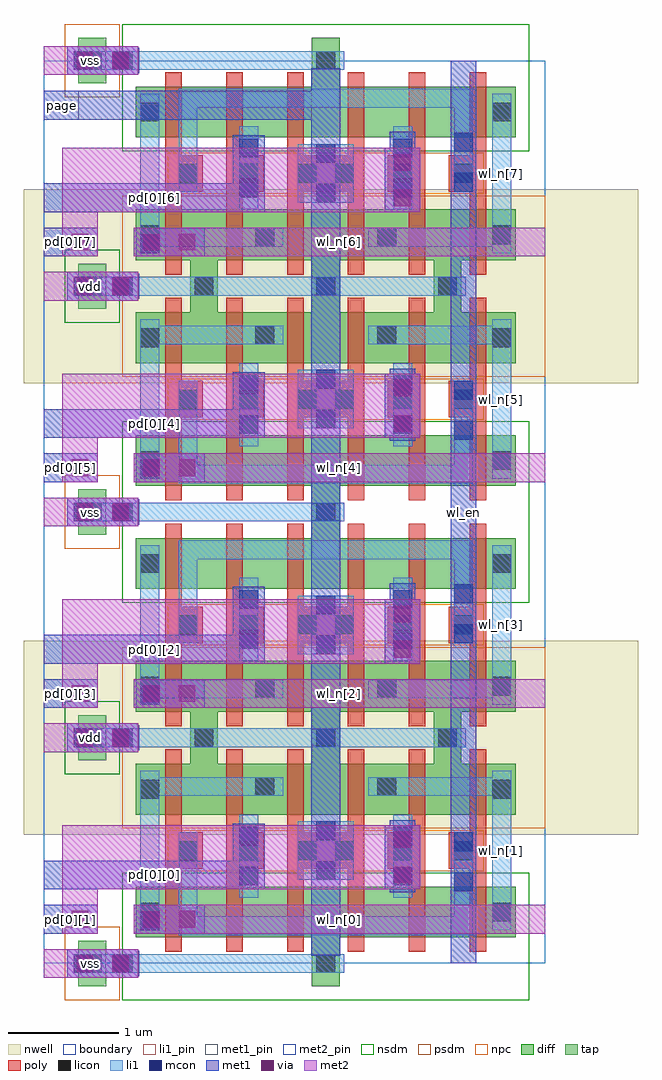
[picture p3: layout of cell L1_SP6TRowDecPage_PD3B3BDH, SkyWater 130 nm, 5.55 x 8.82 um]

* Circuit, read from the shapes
.subckt L1_SP6TRowDecPage_PD3B3BDH page pd[0][0] pd[0][1] pd[0][2] pd[0][3] pd[0][4] pd[0][5] pd[0][6] pd[0][7] vdd vss wl_en wl_n[0] wl_n[1] wl_n[2] wl_n[3] wl_n[4] wl_n[5] wl_n[6] wl_n[7]
XM1 n1 wl_en wl_n[0] vss sky130_fd_pr__nfet_01v8 w=0.46 l=0.15
XM2 n2 wl_en wl_n[2] vss sky130_fd_pr__nfet_01v8 w=0.46 l=0.15
XM3 n3 wl_en wl_n[4] vss sky130_fd_pr__nfet_01v8 w=0.46 l=0.15
XM4 n4 wl_en wl_n[6] vss sky130_fd_pr__nfet_01v8 w=0.46 l=0.15
XM5 n5 pd[0][0] n1 vss sky130_fd_pr__nfet_01v8 w=0.46 l=0.15
XM6 n6 pd[0][2] n2 vss sky130_fd_pr__nfet_01v8 w=0.46 l=0.15
XM7 n7 pd[0][4] n3 vss sky130_fd_pr__nfet_01v8 w=0.46 l=0.15
XM8 n8 pd[0][6] n4 vss sky130_fd_pr__nfet_01v8 w=0.46 l=0.15
XM9 vss page n5 vss sky130_fd_pr__nfet_01v8 w=0.46 l=0.15
XM10 vss page n6 vss sky130_fd_pr__nfet_01v8 w=0.46 l=0.15
XM11 vss page n7 vss sky130_fd_pr__nfet_01v8 w=0.46 l=0.15
XM12 vss page n8 vss sky130_fd_pr__nfet_01v8 w=0.46 l=0.15
XM13 n9 page vss vss sky130_fd_pr__nfet_01v8 w=0.46 l=0.15
XM14 n10 page vss vss sky130_fd_pr__nfet_01v8 w=0.46 l=0.15
XM15 n11 page vss vss sky130_fd_pr__nfet_01v8 w=0.46 l=0.15
XM16 n12 page vss vss sky130_fd_pr__nfet_01v8 w=0.46 l=0.15
XM17 n13 pd[0][1] n9 vss sky130_fd_pr__nfet_01v8 w=0.46 l=0.15
XM18 n14 pd[0][3] n10 vss sky130_fd_pr__nfet_01v8 w=0.46 l=0.15
XM19 n15 pd[0][5] n11 vss sky130_fd_pr__nfet_01v8 w=0.46 l=0.15
XM20 n16 pd[0][7] n12 vss sky130_fd_pr__nfet_01v8 w=0.46 l=0.15
XM21 wl_n[1] wl_en n13 vss sky130_fd_pr__nfet_01v8 w=0.46 l=0.15
XM22 wl_n[3] wl_en n14 vss sky130_fd_pr__nfet_01v8 w=0.46 l=0.15
XM23 wl_n[5] wl_en n15 vss sky130_fd_pr__nfet_01v8 w=0.46 l=0.15
XM24 wl_n[7] wl_en n16 vss sky130_fd_pr__nfet_01v8 w=0.46 l=0.15
XM25 vdd wl_en wl_n[0] vdd sky130_fd_pr__pfet_01v8 w=0.46 l=0.15
XM26 vdd wl_en wl_n[2] vdd sky130_fd_pr__pfet_01v8 w=0.46 l=0.15
XM27 vdd wl_en wl_n[4] vdd sky130_fd_pr__pfet_01v8 w=0.46 l=0.15
XM28 vdd wl_en wl_n[6] vdd sky130_fd_pr__pfet_01v8 w=0.46 l=0.15
XM29 wl_n[0] pd[0][0] vdd vdd sky130_fd_pr__pfet_01v8 w=0.46 l=0.15
XM30 wl_n[2] pd[0][2] vdd vdd sky130_fd_pr__pfet_01v8 w=0.46 l=0.15
XM31 wl_n[4] pd[0][4] vdd vdd sky130_fd_pr__pfet_01v8 w=0.46 l=0.15
XM32 wl_n[6] pd[0][6] vdd vdd sky130_fd_pr__pfet_01v8 w=0.46 l=0.15
XM33 vdd page wl_n[0] vdd sky130_fd_pr__pfet_01v8 w=0.46 l=0.15
XM34 vdd page wl_n[2] vdd sky130_fd_pr__pfet_01v8 w=0.46 l=0.15
XM35 vdd page wl_n[4] vdd sky130_fd_pr__pfet_01v8 w=0.46 l=0.15
XM36 vdd page wl_n[6] vdd sky130_fd_pr__pfet_01v8 w=0.46 l=0.15
XM37 wl_n[1] page vdd vdd sky130_fd_pr__pfet_01v8 w=0.46 l=0.15
XM38 wl_n[3] page vdd vdd sky130_fd_pr__pfet_01v8 w=0.46 l=0.15
XM39 wl_n[5] page vdd vdd sky130_fd_pr__pfet_01v8 w=0.46 l=0.15
XM40 wl_n[7] page vdd vdd sky130_fd_pr__pfet_01v8 w=0.46 l=0.15
XM41 vdd pd[0][1] wl_n[1] vdd sky130_fd_pr__pfet_01v8 w=0.46 l=0.15
XM42 vdd pd[0][3] wl_n[3] vdd sky130_fd_pr__pfet_01v8 w=0.46 l=0.15
XM43 vdd pd[0][5] wl_n[5] vdd sky130_fd_pr__pfet_01v8 w=0.46 l=0.15
XM44 vdd pd[0][7] wl_n[7] vdd sky130_fd_pr__pfet_01v8 w=0.46 l=0.15
XM45 wl_n[1] wl_en vdd vdd sky130_fd_pr__pfet_01v8 w=0.46 l=0.15
XM46 wl_n[3] wl_en vdd vdd sky130_fd_pr__pfet_01v8 w=0.46 l=0.15
XM47 wl_n[5] wl_en vdd vdd sky130_fd_pr__pfet_01v8 w=0.46 l=0.15
XM48 wl_n[7] wl_en vdd vdd sky130_fd_pr__pfet_01v8 w=0.46 l=0.15
.ends

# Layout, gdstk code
import gdstk
lib = gdstk.Library(unit=1e-6, precision=1e-09)
def R(c, l, rs):  # rectangles x0, y0, x1, y1
    for r in rs: c.add(gdstk.rectangle(r[:2], r[2:], *l))
def A(c, l, x, y, w, h, nx, ny, dx, dy):  # array of equal rectangles
    R(c, l, [(x+i*dx, y+j*dy, x+i*dx+w, y+j*dy+h) for i in range(nx) for j in range(ny)])
def P(c, l, *ps):  # polygons
    for p in ps: c.add(gdstk.Polygon(p, *l))
nwell = (64, 20)
diff = (65, 20)
tap = (65, 44)
poly = (66, 20)
licon = (66, 44)
li1_pin = (67, 16)
li1 = (67, 20)
mcon = (67, 44)
met1_pin = (68, 16)
met1 = (68, 20)
via = (68, 44)
met2_pin = (69, 16)
met2 = (69, 20)
nsdm = (93, 44)
psdm = (94, 20)
npc = (95, 20)
boundary = (235, 4)

l1_sp6trowdecodernand3x2 = lib.new_cell('L1_SP6TRowDecoderNand3X2')
R(l1_sp6trowdecodernand3x2, nwell, [(-0.18,1.165,5.375,2.425)])
P(l1_sp6trowdecodernand3x2, diff, [(0.835,1.345),(0.835,1.805),(1.325,1.805),(1.325,2.245),(1.575,2.245),(1.575,1.805),(2.425,1.805),(2.425,2.245),(2.675,2.245),(2.675,1.805),(3.525,1.805),(3.525,2.245),(3.775,2.245),(3.775,1.805),(4.265,1.805),(4.265,1.345)],
  [(2.425,-0.205),(2.425,0.235),(0.835,0.235),(0.835,0.695),(4.265,0.695),(4.265,0.235),(2.675,0.235),(2.675,-0.205)])
R(l1_sp6trowdecodernand3x2, tap, [(0.315,-0.205,0.565,0.205), (0.315,1.835,0.565,2.245)])
P(l1_sp6trowdecodernand3x2, poly, [(2.2,0.105),(2.2,1.935),(2.35,1.935),(2.35,1.185),(2.75,1.185),(2.75,1.935),(2.9,1.935),(2.9,0.105),(2.75,0.105),(2.75,0.855),(2.35,0.855),(2.35,0.105)],
  [(1.1,0.105),(1.1,1.935),(1.25,1.935),(1.25,1.185),(1.44,1.185),(1.44,0.855),(1.25,0.855),(1.25,0.105)],
  [(1.65,0.105),(1.65,1.935),(1.8,1.935),(1.8,1.185),(1.99,1.185),(1.99,0.855),(1.8,0.855),(1.8,0.105)],
  [(3.3,0.105),(3.3,0.855),(3.11,0.855),(3.11,1.185),(3.3,1.185),(3.3,1.935),(3.45,1.935),(3.45,0.105)],
  [(3.85,0.105),(3.85,0.855),(3.66,0.855),(3.66,1.185),(3.85,1.185),(3.85,1.935),(4,1.935),(4,0.105)])
A(l1_sp6trowdecodernand3x2, licon, 1.365, 1.955, 0.17, 0.17, 3, 1, 1.1, 0)
R(l1_sp6trowdecodernand3x2, licon, [(0.355,-0.085,0.525,0.085), (2.465,-0.085,2.635,0.085), (0.875,0.38,1.045,0.55), (4.055,0.38,4.225,0.55), (1.22,0.935,1.39,1.105), (1.77,0.935,1.94,1.105), (2.295,0.935,2.465,1.105), (2.635,0.935,2.805,1.105), (3.16,0.935,3.33,1.105), (3.71,0.935,3.88,1.105), (0.875,1.49,1.045,1.66), (4.055,1.49,4.225,1.66), (1.915,1.515,2.085,1.685), (3.015,1.515,3.185,1.685), (0.355,1.955,0.525,2.125)])
R(l1_sp6trowdecodernand3x2, li1_pin, [(0.875,0.3,1.045,1.74), (4.055,0.3,4.225,1.74), (1.77,0.595,1.94,1.345), (3.16,0.595,3.33,1.345)])
R(l1_sp6trowdecodernand3x2, li1, [(0.275,-0.085,2.715,0.085), (1.77,0.595,1.94,1.345), (3.16,0.595,3.33,1.345), (2.295,0.755,2.805,1.285), (0.275,1.955,3.815,2.125)])
P(l1_sp6trowdecodernand3x2, li1, [(4.055,0.3),(4.055,1.515),(2.935,1.515),(2.935,1.685),(4.055,1.685),(4.055,1.74),(4.225,1.74),(4.225,0.3)],
  [(1.22,0.255),(1.22,1.185),(1.39,1.185),(1.39,0.425),(3.71,0.425),(3.71,1.185),(3.88,1.185),(3.88,0.255)],
  [(0.875,0.3),(0.875,1.74),(1.045,1.74),(1.045,1.685),(2.165,1.685),(2.165,1.515),(1.045,1.515),(1.045,0.3)])
R(l1_sp6trowdecodernand3x2, mcon, [(0.275,-0.085,0.445,0.085), (0.635,-0.085,0.805,0.085), (3.71,0.655,3.88,0.825), (2.465,0.755,2.635,0.925), (3.71,1.015,3.88,1.185), (2.465,1.115,2.635,1.285), (0.275,1.955,0.445,2.125), (0.635,1.955,0.805,2.125)])
R(l1_sp6trowdecodernand3x2, met1_pin, [(3.68,0,3.91,2.04), (2.42,0.07,2.68,1.97)])
R(l1_sp6trowdecodernand3x2, met1, [(3.68,0,3.91,2.04), (2.42,0.07,2.68,1.97)])
P(l1_sp6trowdecodernand3x2, met1, [(0.215,-0.13),(0.215,0.13),(0.855,0.13),(0.855,0.115),(0.865,0.115),(0.865,-0.115),(0.855,-0.115),(0.855,-0.13)],
  [(0.215,1.91),(0.215,2.17),(0.855,2.17),(0.855,2.155),(0.865,2.155),(0.865,1.925),(0.855,1.925),(0.855,1.91)])
R(l1_sp6trowdecodernand3x2, via, [(0.3,-0.075,0.45,0.075), (0.62,-0.075,0.77,0.075), (0.3,1.965,0.45,2.115), (0.62,1.965,0.77,2.115)])
R(l1_sp6trowdecodernand3x2, met2_pin, [(0.215,-0.13,0.855,0.13), (0.215,1.91,0.855,2.17)])
R(l1_sp6trowdecodernand3x2, met2, [(0.215,-0.13,0.855,0.13), (0.215,1.91,0.855,2.17)])
R(l1_sp6trowdecodernand3x2, nsdm, [(0.71,-0.33,4.39,0.82), (0.19,1.71,0.69,2.37)])
R(l1_sp6trowdecodernand3x2, psdm, [(0.19,-0.33,0.69,0.33), (0.71,1.22,4.535,2.37)])
R(l1_sp6trowdecodernand3x2, npc, [(1.12,0.835,3.98,1.205)])
R(l1_sp6trowdecodernand3x2, boundary, [(0,0,4.535,2.04)])
l1_sp6trowdecodernand3x2.add(gdstk.Label('page', (2.55,1.02), layer=68, texttype=16))
l1_sp6trowdecodernand3x2.add(gdstk.Label('wl_en', (3.795,1.02), layer=68, texttype=16))
l1_sp6trowdecodernand3x2.add(gdstk.Label('vdd', (0.535,2.04), layer=69, texttype=16))
l1_sp6trowdecodernand3x2.add(gdstk.Label('vss', (0.535,0), layer=69, texttype=16))
l1_sp6trowdecodernand3x2.add(gdstk.Label('wl_n[1]', (4.14,1.02), layer=67, texttype=16))
l1_sp6trowdecodernand3x2.add(gdstk.Label('pd[0][1]', (3.245,0.97), layer=67, texttype=16))
l1_sp6trowdecodernand3x2.add(gdstk.Label('pd[0][0]', (1.855,0.97), layer=67, texttype=16))
l1_sp6trowdecodernand3x2.add(gdstk.Label('wl_n[0]', (0.96,1.02), layer=67, texttype=16))

l1_sp6trowdecpage_pd3b3b = lib.new_cell('L1_SP6TRowDecPage_PD3B3BDH')
A(l1_sp6trowdecpage_pd3b3b, li1_pin, 4.055, 0.3, 0.17, 1.44, 1, 4, 0, 2.04)
A(l1_sp6trowdecpage_pd3b3b, li1, 0.875, 0.3, 0.17, 0.17, 1, 4, 0, 2.04)
A(l1_sp6trowdecpage_pd3b3b, li1, 4.055, 0.3, 0.17, 1.44, 1, 4, 0, 2.04)
R(l1_sp6trowdecpage_pd3b3b, li1, [(1.77,0.705,1.94,1.235), (3.16,0.705,3.33,1.235), (1.77,2.845,1.94,3.375), (3.16,2.845,3.33,3.375), (1.77,4.785,1.94,5.315), (3.16,4.785,3.33,5.315), (1.77,6.925,1.94,7.455), (3.16,6.925,3.33,7.455)])
A(l1_sp6trowdecpage_pd3b3b, mcon, 0.875, 0.3, 0.17, 0.17, 1, 4, 0, 2.04)
R(l1_sp6trowdecpage_pd3b3b, mcon, [(1.77,0.705,1.94,0.875), (3.16,0.705,3.33,0.875), (1.77,1.065,1.94,1.235), (3.16,1.065,3.33,1.235), (1.77,2.845,1.94,3.015), (3.16,2.845,3.33,3.015), (1.77,3.205,1.94,3.375), (3.16,3.205,3.33,3.375), (1.77,4.785,1.94,4.955), (3.16,4.785,3.33,4.955), (1.77,5.145,1.94,5.315), (3.16,5.145,3.33,5.315), (1.77,6.925,1.94,7.095), (3.16,6.925,3.33,7.095), (1.77,7.285,1.94,7.455), (3.16,7.285,3.33,7.455)])
A(l1_sp6trowdecpage_pd3b3b, met1_pin, 0, 0.27, 0.49, 0.26, 1, 4, 0, 2.04)
A(l1_sp6trowdecpage_pd3b3b, met1_pin, 0, 0.67, 2, 0.26, 1, 4, 0, 2.04)
R(l1_sp6trowdecpage_pd3b3b, met1_pin, [(3.68,0,3.91,8.16), (0,7.625,0.32,7.885)])
A(l1_sp6trowdecpage_pd3b3b, met1, 0, 0.27, 0.49, 0.26, 1, 4, 0, 2.04)
A(l1_sp6trowdecpage_pd3b3b, met1, 0.815, 0.27, 0.64, 0.26, 1, 4, 0, 2.04)
R(l1_sp6trowdecpage_pd3b3b, met1, [(3.68,0,3.91,8.16)])
P(l1_sp6trowdecpage_pd3b3b, met1, [(2.42,1.02),(2.42,7.625),(0,7.625),(0,7.885),(2.68,7.885),(2.68,1.02)],
  [(3.085,2.71),(3.085,3.29),(3.13,3.29),(3.13,3.435),(3.36,3.435),(3.36,3.29),(3.405,3.29),(3.405,2.71)],
  [(3.085,6.79),(3.085,7.37),(3.13,7.37),(3.13,7.515),(3.36,7.515),(3.36,7.37),(3.405,7.37),(3.405,6.79)],
  [(0,2.71),(0,2.97),(1.71,2.97),(1.71,3.405),(2,3.405),(2,2.71)],
  [(0,6.79),(0,7.05),(1.71,7.05),(1.71,7.485),(2,7.485),(2,6.79)],
  [(3.13,0.645),(3.13,0.67),(3.085,0.67),(3.085,1.25),(3.13,1.25),(3.13,1.295),(3.36,1.295),(3.36,1.25),(3.405,1.25),(3.405,0.67),(3.36,0.67),(3.36,0.645)],
  [(3.13,4.725),(3.13,4.75),(3.085,4.75),(3.085,5.33),(3.13,5.33),(3.13,5.375),(3.36,5.375),(3.36,5.33),(3.405,5.33),(3.405,4.75),(3.36,4.75),(3.36,4.725)],
  [(0,0.67),(0,0.93),(1.71,0.93),(1.71,1.265),(2,1.265),(2,0.67)],
  [(0,4.75),(0,5.01),(1.71,5.01),(1.71,5.345),(2,5.345),(2,4.75)])
A(l1_sp6trowdecpage_pd3b3b, via, 0.255, 0.325, 0.15, 0.15, 1, 4, 0, 2.04)
A(l1_sp6trowdecpage_pd3b3b, via, 0.9, 0.325, 0.15, 0.15, 1, 4, 0, 2.04)
A(l1_sp6trowdecpage_pd3b3b, via, 1.22, 0.325, 0.15, 0.15, 1, 4, 0, 2.04)
R(l1_sp6trowdecpage_pd3b3b, via, [(3.17,0.725,3.32,0.875), (3.17,1.045,3.32,1.195), (3.17,2.765,3.32,2.915), (3.17,3.085,3.32,3.235), (3.17,4.805,3.32,4.955), (3.17,5.125,3.32,5.275), (3.17,6.845,3.32,6.995), (3.17,7.165,3.32,7.315)])
A(l1_sp6trowdecpage_pd3b3b, met2_pin, 0, -0.13, 0.855, 0.26, 1, 5, 0, 2.04)
A(l1_sp6trowdecpage_pd3b3b, met2_pin, 0.815, 0.27, 3.72, 0.26, 1, 4, 0, 2.04)
A(l1_sp6trowdecpage_pd3b3b, met2, 0, -0.13, 0.855, 0.26, 1, 5, 0, 2.04)
A(l1_sp6trowdecpage_pd3b3b, met2, 0.815, 0.27, 3.72, 0.26, 1, 4, 0, 2.04)
P(l1_sp6trowdecpage_pd3b3b, met2, [(0.17,0.27),(0.17,1.25),(3.405,1.25),(3.405,0.67),(0.49,0.67),(0.49,0.27)],
  [(0.17,2.31),(0.17,3.29),(3.405,3.29),(3.405,2.71),(0.49,2.71),(0.49,2.31)],
  [(0.17,4.35),(0.17,5.33),(3.405,5.33),(3.405,4.75),(0.49,4.75),(0.49,4.35)],
  [(0.17,6.39),(0.17,7.37),(3.405,7.37),(3.405,6.79),(0.49,6.79),(0.49,6.39)])
R(l1_sp6trowdecpage_pd3b3b, boundary, [(0,0,4.535,8.16)])
l1_sp6trowdecpage_pd3b3b.add(gdstk.Reference(l1_sp6trowdecodernand3x2, (0,4.08), x_reflection=True))
l1_sp6trowdecpage_pd3b3b.add(gdstk.Reference(l1_sp6trowdecodernand3x2, (0,8.16), x_reflection=True))
l1_sp6trowdecpage_pd3b3b.add(gdstk.Reference(l1_sp6trowdecodernand3x2, (0,0)))
l1_sp6trowdecpage_pd3b3b.add(gdstk.Reference(l1_sp6trowdecodernand3x2, (0,4.08)))
l1_sp6trowdecpage_pd3b3b.add(gdstk.Label('wl_en', (3.795,4.08), layer=68, texttype=16))
l1_sp6trowdecpage_pd3b3b.add(gdstk.Label('pd[0][6]', (1,6.92), layer=68, texttype=16))
l1_sp6trowdecpage_pd3b3b.add(gdstk.Label('pd[0][5]', (0.245,4.48), layer=68, texttype=16))
l1_sp6trowdecpage_pd3b3b.add(gdstk.Label('pd[0][4]', (1,4.88), layer=68, texttype=16))
l1_sp6trowdecpage_pd3b3b.add(gdstk.Label('page', (0.16,7.755), layer=68, texttype=16))
l1_sp6trowdecpage_pd3b3b.add(gdstk.Label('pd[0][3]', (0.245,2.44), layer=68, texttype=16))
l1_sp6trowdecpage_pd3b3b.add(gdstk.Label('pd[0][7]', (0.245,6.52), layer=68, texttype=16))
l1_sp6trowdecpage_pd3b3b.add(gdstk.Label('pd[0][2]', (1,2.84), layer=68, texttype=16))
l1_sp6trowdecpage_pd3b3b.add(gdstk.Label('pd[0][1]', (0.245,0.4), layer=68, texttype=16))
l1_sp6trowdecpage_pd3b3b.add(gdstk.Label('pd[0][0]', (1,0.8), layer=68, texttype=16))
l1_sp6trowdecpage_pd3b3b.add(gdstk.Label('vdd', (0.428,2.04), layer=69, texttype=16))
l1_sp6trowdecpage_pd3b3b.add(gdstk.Label('vdd', (0.428,6.12), layer=69, texttype=16))
l1_sp6trowdecpage_pd3b3b.add(gdstk.Label('vss', (0.428,0), layer=69, texttype=16))
l1_sp6trowdecpage_pd3b3b.add(gdstk.Label('vss', (0.428,4.08), layer=69, texttype=16))
l1_sp6trowdecpage_pd3b3b.add(gdstk.Label('vss', (0.428,8.16), layer=69, texttype=16))
l1_sp6trowdecpage_pd3b3b.add(gdstk.Label('wl_n[6]', (2.675,6.52), layer=69, texttype=16))
l1_sp6trowdecpage_pd3b3b.add(gdstk.Label('wl_n[2]', (2.675,2.44), layer=69, texttype=16))
l1_sp6trowdecpage_pd3b3b.add(gdstk.Label('wl_n[4]', (2.675,4.48), layer=69, texttype=16))
l1_sp6trowdecpage_pd3b3b.add(gdstk.Label('wl_n[0]', (2.675,0.4), layer=69, texttype=16))
l1_sp6trowdecpage_pd3b3b.add(gdstk.Label('wl_n[7]', (4.14,7.14), layer=67, texttype=16))
l1_sp6trowdecpage_pd3b3b.add(gdstk.Label('wl_n[5]', (4.14,5.1), layer=67, texttype=16))
l1_sp6trowdecpage_pd3b3b.add(gdstk.Label('wl_n[3]', (4.14,3.06), layer=67, texttype=16))
l1_sp6trowdecpage_pd3b3b.add(gdstk.Label('wl_n[1]', (4.14,1.02), layer=67, texttype=16))

lib.write_gds('L1_SP6TRowDecPage_PD3B3BDH.gds')
